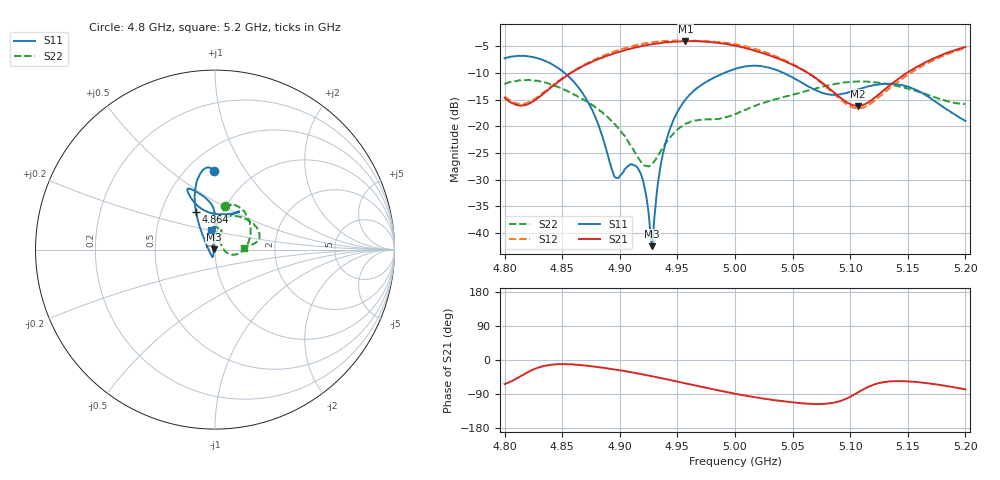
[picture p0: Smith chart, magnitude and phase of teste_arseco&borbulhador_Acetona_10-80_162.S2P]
! Network Analyzer HP8722D
! Hewlett-Packard
! Data name: Linha & Wilkinson
! Saver's name: Rodrigo Anjos
! Comments: Teste da utilização de aquisição
! continua pelo VNA HP8722D
! Time and date: 25/4/2025 16:37
!  Frequency  S11  S21  S12  S22
# HZ  S  MA R 50
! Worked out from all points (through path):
!   401 points, 4.8 GHz to 5.2 GHz, reference 50 ohm
!   highest |S21| = -3.99 dB at 4.957 GHz (marker M1); lowest = -16.1 dB at 5.107 GHz (marker M2)
!   lowest |S11| = -42.5 dB at 4.928 GHz (marker M3), VSWR 1.02, Z = 49.3 + j0.0875 ohm
!   |S11| at or under -10 dB: 4.852 GHz to 4.99 GHz (137.9 MHz wide, 2.8 % of centre); 5.042 GHz to end of sweep
!   |S22| runs from -27.5 to -11.3 dB; largest |S21 - S12| = 1.2
!   S11 on the Smith chart (normalised r, x): 4.8 GHz: 0.67, +0.72; 4.864 GHz: 0.75, +0.33; 5.2 GHz: 0.94, +0.21
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4.8e9  0.4353 90.8  0.1852 -63.6  0.1903 69.8  0.2494 76.8
4.82e9  0.4544 97.2  0.1611 -32.2  0.1671 98.5  0.2738 61.4
4.844e9  0.3669 107.0  0.2501 -11.6  0.2539 119.3  0.2392 35.9
4.864e9  0.2335 116.9  0.3494 -12.8  0.3527 121.0  0.1897 12.2
4.867e9  0.2104 118.6  0.3636 -13.8  0.3669 120.7  0.1828 8.8
4.88e9  0.1131 129.0  0.4223 -18.3  0.4323 118.3  0.1482 -5.0
4.896e9  0.03323 -168.2  0.4881 -25.2  0.5058 113.1  0.1045 -15.8
4.909e9  0.04402 -109.7  0.5349 -31.8  0.5599 107.6  0.06709 -13.9
4.917e9  0.03813 -105.5  0.5609 -36.3  0.589 103.7  0.04894 -0.4
4.921e9  0.02834 -109.2  0.5736 -38.8  0.6003 101.4  0.04327 12.5
4.926e9  0.01171 -136.1  0.5856 -41.8  0.6101 98.3  0.04266 33.3
4.928e9  0.007536 173.2  0.5902 -42.9  0.6154 97.1  0.04476 40.1
4.934e9  0.03408 101.0  0.6012 -46.7  0.6283 93.2  0.05538 57.8
4.943e9  0.0915 91.3  0.6166 -52.5  0.6369 87.5  0.07731 68.6
4.957e9  0.1787 89.7  0.6316 -61.4  0.6383 78.5  0.1054 71.1
5e9  0.3465 109.1  0.5715 -89.1  0.5911 50.8  0.1306 88.1
5.03e9  0.3551 115.2  0.464 -104.0  0.4802 33.8  0.1732 85.3
5.067e9  0.2276 105.4  0.2999 -115.8  0.2978 23.7  0.2217 57.2
5.107e9  0.2225 64.4  0.1558 -85.1  0.148 58.0  0.2638 24.2
5.134e9  0.2516 57.7  0.2408 -56.5  0.2268 88.7  0.2477 12.4
5.167e9  0.1924 68.9  0.4075 -61.3  0.3908 85.5  0.1986 7.0
5.2e9  0.1126 100.9  0.5545 -77.4  0.5447 70.2  0.1618 3.8
